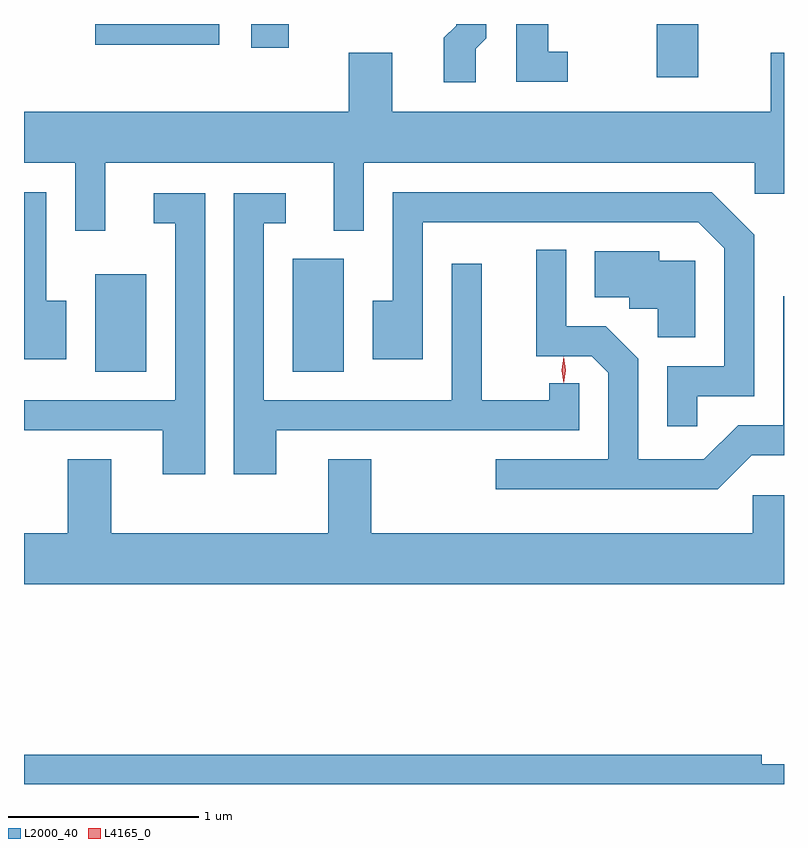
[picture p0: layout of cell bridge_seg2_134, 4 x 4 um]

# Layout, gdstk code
import gdstk
lib = gdstk.Library(unit=1e-6, precision=1e-09)
def R(c, l, rs):  # rectangles x0, y0, x1, y1
    for r in rs: c.add(gdstk.rectangle(r[:2], r[2:], *l))
def P(c, l, *ps):  # polygons
    for p in ps: c.add(gdstk.Polygon(p, *l))
L2000_40 = (2000, 40)
L4165_0 = (4165, 0)

bridge_seg2_134 = lib.new_cell('bridge_seg2_134')
R(bridge_seg2_134, L2000_40, [(964.546,1111.596,964.814,1112.109), (965.586,1111.596,965.854,1112.189), (967.501,1113.146,967.719,1113.425), (965.366,1113.301,965.564,1113.425), (964.546,1113.316,965.198,1113.425)])
P(bridge_seg2_134, L2000_40, [(967.033,1113.279),(966.929,1113.279),(966.929,1113.425),(966.761,1113.425),(966.761,1113.121),(967.033,1113.121)],
  [(966.549,1113.294),(966.604,1113.349),(966.604,1113.425),(966.446,1113.425),(966.446,1113.417),(966.381,1113.352),(966.381,1113.118),(966.549,1113.118)],
  [(964.599,1112.696),(965.801,1112.696),(965.801,1112.338),(965.959,1112.338),(965.959,1112.696),(968.016,1112.696),(968.016,1112.531),(968.171,1112.531),(968.171,1113.274),(968.101,1113.274),(968.101,1112.964),(966.109,1112.964),(966.109,1113.274),(965.881,1113.274),(965.881,1112.964),(964.171,1112.964),(964.171,1112.696),(964.441,1112.696),(964.441,1112.338),(964.599,1112.338)],
  [(967.714,1111.466),(968.014,1111.466),(968.014,1112.317),(967.792,1112.539),(966.111,1112.539),(966.111,1111.969),(966.006,1111.969),(966.006,1111.661),(966.269,1111.661),(966.269,1112.381),(967.719,1112.381),(967.856,1112.244),(967.856,1111.624),(967.556,1111.624),(967.556,1111.308),(967.714,1111.308)],
  [(964.394,1111.969),(964.289,1111.969),(964.289,1112.539),(964.171,1112.539),(964.171,1111.661),(964.394,1111.661)],
  [(965.499,1111.286),(967.094,1111.286),(967.094,1111.533),(966.936,1111.533),(966.936,1111.444),(966.579,1111.444),(966.579,1112.163),(966.421,1112.163),(966.421,1111.444),(965.434,1111.444),(965.434,1112.376),(965.548,1112.376),(965.548,1112.534),(965.276,1112.534),(965.276,1111.056),(965.499,1111.056)],
  [(965.124,1112.534),(964.853,1112.534),(964.853,1112.376),(964.966,1112.376),(964.966,1111.444),(964.171,1111.444),(964.171,1111.286),(964.901,1111.286),(964.901,1111.056),(965.124,1111.056)],
  [(968.002,1111.156),(968.171,1111.156),(968.171,1111.993),(968.166,1111.993),(968.166,1111.314),(967.929,1111.314),(967.749,1111.134),(967.404,1111.134),(967.404,1111.662),(967.232,1111.834),(967.024,1111.834),(967.024,1112.238),(966.866,1112.238),(966.866,1111.676),(967.159,1111.676),(967.246,1111.589),(967.246,1111.134),(966.653,1111.134),(966.653,1110.976),(967.822,1110.976)],
  [(967.704,1112.179),(967.514,1112.179),(967.514,1112.229),(967.176,1112.229),(967.176,1111.986),(967.356,1111.986),(967.356,1111.926),(967.506,1111.926),(967.506,1111.776),(967.704,1111.776)],
  [(968.171,1110.944),(968.006,1110.944),(968.006,1110.744),(965.999,1110.744),(965.999,1111.134),(965.771,1111.134),(965.771,1110.744),(964.629,1110.744),(964.629,1111.134),(964.401,1111.134),(964.401,1110.744),(964.171,1110.744),(964.171,1110.476),(968.171,1110.476)],
  [(968.171,1109.529),(968.054,1109.529),(968.054,1109.579),(964.171,1109.579),(964.171,1109.425),(968.171,1109.425)])
P(bridge_seg2_134, L4165_0, [(967.011,1111.534),(967.001,1111.603),(967.011,1111.673),(967.012,1111.673),(967.012,1111.673),(967.022,1111.603),(967.012,1111.534),(967.012,1111.534)])

lib.write_gds('bridge_seg2_134.gds')
